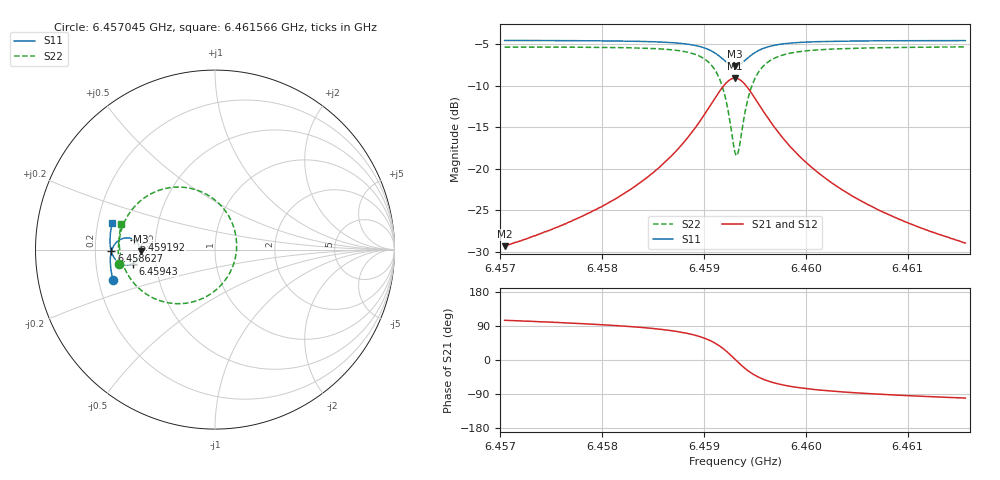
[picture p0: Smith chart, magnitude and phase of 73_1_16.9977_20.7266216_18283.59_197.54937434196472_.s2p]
#  HZ  S  RI  R  50.00
! Rohde & Schwarz Vector Network Analyzer
! Rohde-Schwarz,ZNB20-2Port,1311601062101988,3.16
! Created: UTC 3/20/2024, 10:55:17 PM
! freq[Hz]  re:S11  im:S11  re:S21  im:S21  re:S12  im:S12  re:S22  im:S22
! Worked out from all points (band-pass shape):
!   401 points, 6.457045 GHz to 6.461566 GHz, reference 50 ohm
!   highest |S21| = -9.09 dB at 6.459305 GHz (marker M1); lowest = -29.3 dB at 6.457045 GHz (marker M2)
!   |S21| within 3 dB of the highest: 6.459079 GHz to 6.459531 GHz (452.8 kHz wide, 0.00701 % of centre)
!   lowest |S11| = -7.6 dB at 6.459305 GHz (marker M3), VSWR 2.42, Z = 20.7 - j0.524 ohm
!   |S11| at or under -10 dB: nowhere
!   |S22| runs from -18.4 to -5.3 dB; largest |S21 - S12| = 0.014
!   S11 on the Smith chart (normalised r, x): 6.457045 GHz: 0.26, -0.14; 6.458627 GHz: 0.27, -0.01; 6.459192 GHz: 0.38, +0.05; 6.45943 GHz: 0.37, -0.07; 6.461566 GHz: 0.26, +0.12
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6.4570448e9  -0.5674 -0.1685  -0.00869 0.033  -0.00699 0.0331  -0.5345 -0.0778
6.4578021e9  -0.5808 -0.1018  -0.00531 0.0513  -0.00269 0.0507  -0.5389 0.0118
6.4582316e9  -0.5836 -0.0583  0.00121 0.0719  0.0044 0.0703  -0.5293 0.0813
6.4585594e9  -0.5793 -0.0185  0.0151 0.1002  0.0191 0.0975  -0.5033 0.1569
6.4586272e9  -0.577 -0.009  0.0206 0.1088  0.0246 0.1055  -0.4929 0.1772
6.4588194e9  -0.5642 0.0214  0.0477 0.1402  0.0518 0.1351  -0.442 0.2465
6.4589664e9  -0.5409 0.0478  0.0939 0.1708  0.0971 0.1641  -0.3569 0.3109
6.459102e9  -0.4962 0.0652  0.1827 0.1871  0.1836 0.1799  -0.1947 0.3483
6.4591924e9  -0.4508 0.0543  0.2739 0.1547  0.2741 0.1488  -0.0259 0.295
6.4592602e9  -0.4214 0.0214  0.3348 0.0812  0.3371 0.0758  0.0897 0.1621
6.4593055e9  -0.4146 -0.0105  0.3508 0.012  0.3546 0.00503  0.1206 0.0328
6.4593394e9  -0.4188 -0.0345  0.3444 -0.0413  0.3485 -0.0505  0.1077 -0.0679
6.4593846e9  -0.4348 -0.061  0.315 -0.1015  0.3173 -0.1137  0.048 -0.1817
6.4594298e9  -0.4572 -0.0776  0.272 -0.1429  0.2712 -0.1563  -0.0392 -0.2565
6.4595202e9  -0.5012 -0.0847  0.186 -0.1739  0.1798 -0.1855  -0.2105 -0.3013
6.459588e9  -0.5259 -0.0773  0.1369 -0.1716  0.129 -0.1806  -0.3046 -0.2854
6.4596672e9  -0.5458 -0.0641  0.0972 -0.1593  0.0884 -0.1655  -0.3792 -0.2501
6.4598254e9  -0.5677 -0.0364  0.0518 -0.1309  0.044 -0.1335  -0.46 -0.1768
6.4600628e9  -0.5806 -0.000968  0.0223 -0.0987  0.0165 -0.0992  -0.508 -0.0936
6.4604358e9  -0.5854 0.0434  0.00523 -0.0695  0.00139 -0.069  -0.5303 -0.00771
6.4608201e9  -0.5837 0.082  -0.00151 -0.0526  -0.00434 -0.0518  -0.5336 0.0539
6.4615662e9  -0.5719 0.1486  -0.00646 -0.0351  -0.00826 -0.0342  -0.5222 0.1431
